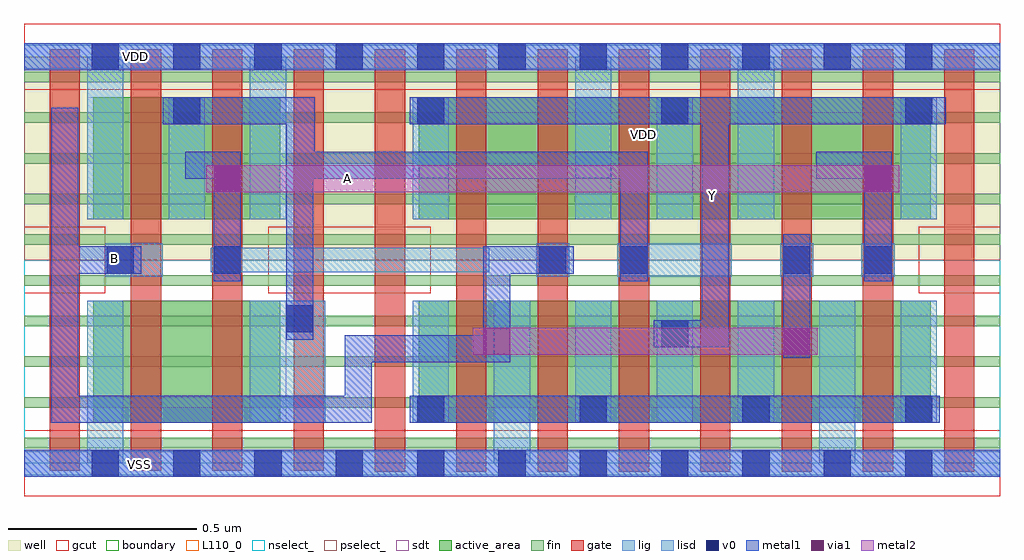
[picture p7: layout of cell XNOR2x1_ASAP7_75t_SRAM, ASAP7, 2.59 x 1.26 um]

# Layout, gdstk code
import gdstk
lib = gdstk.Library(unit=1e-6, precision=2.5e-10)
def R(c, l, rs):  # rectangles x0, y0, x1, y1
    for r in rs: c.add(gdstk.rectangle(r[:2], r[2:], *l))
def A(c, l, x, y, w, h, nx, ny, dx, dy):  # array of equal rectangles
    R(c, l, [(x+i*dx, y+j*dy, x+i*dx+w, y+j*dy+h) for i in range(nx) for j in range(ny)])
def P(c, l, *ps):  # polygons
    for p in ps: c.add(gdstk.Polygon(p, *l))
well = (1, 0)
fin = (2, 0)
gate = (7, 0)
gcut = (10, 0)
active_area = (11, 0)
nselect_ = (12, 0)
pselect_ = (13, 0)
lig = (16, 0)
lisd = (17, 0)
v0 = (18, 0)
metal1 = (19, 0)
metal2 = (20, 0)
via1 = (21, 0)
sdt = (88, 0)
boundary = (100, 0)
L110_0 = (110, 0)

xnor2x1_asap7_75t_sram = lib.new_cell('XNOR2x1_ASAP7_75t_SRAM')
R(xnor2x1_asap7_75t_sram, well, [(0,0.54,2.592,1.08)])
A(xnor2x1_asap7_75t_sram, fin, 0, 0.04, 2.592, 0.028, 1, 10, 0, 0.108)
A(xnor2x1_asap7_75t_sram, gate, 0.932, -0.022, 0.08, 1.122, 8, 1, 0.216, 0)
A(xnor2x1_asap7_75t_sram, gate, 0.068, -0.02, 0.08, 1.12, 4, 1, 0.216, 0)
R(xnor2x1_asap7_75t_sram, gcut, [(0,-0.088,2.592,0.088), (0,0.452,0.216,0.628), (0.648,0.452,1.08,0.628), (2.376,0.452,2.592,0.628), (0,0.992,2.592,1.168)])
R(xnor2x1_asap7_75t_sram, active_area, [(0.184,0.108,0.68,0.432), (1.048,0.108,2.408,0.432), (0.184,0.648,0.68,0.972), (1.048,0.648,2.408,0.972)])
R(xnor2x1_asap7_75t_sram, nselect_, [(0,0,2.592,0.54)])
R(xnor2x1_asap7_75t_sram, pselect_, [(0,0.54,2.592,1.08)])
R(xnor2x1_asap7_75t_sram, lig, [(0,-0.032,2.592,0.032), (0.216,0.496,0.368,0.584), (1.36,0.496,1.448,0.584), (1.576,0.496,1.88,0.584), (2.008,0.496,2.096,0.584), (2.224,0.496,2.312,0.584), (0.496,0.508,1.236,0.572), (0,1.048,2.592,1.112)])
A(xnor2x1_asap7_75t_sram, lisd, 1.464, 0.108, 0.096, 0.324, 3, 1, 0.216, 0)
A(xnor2x1_asap7_75t_sram, lisd, 0.384, 0.648, 0.096, 0.324, 4, 1, 0.648, 0)
R(xnor2x1_asap7_75t_sram, lisd, [(0.168,0,0.264,0.432), (1.248,0,1.344,0.432), (2.112,0,2.208,0.432), (0.6,0.108,0.8,0.432), (1.032,0.108,1.128,0.432), (2.328,0.108,2.424,0.432), (0.168,0.648,0.264,1.08), (0.6,0.648,0.696,1.08), (1.464,0.648,1.56,1.08), (1.896,0.648,1.992,1.08)])
A(xnor2x1_asap7_75t_sram, v0, 0.18, -0.036, 0.072, 0.072, 11, 2, 0.216, 1.08)
A(xnor2x1_asap7_75t_sram, v0, 1.044, 0.108, 0.072, 0.072, 4, 1, 0.432, 0)
A(xnor2x1_asap7_75t_sram, v0, 0.396, 0.9, 0.072, 0.072, 4, 1, 0.648, 0)
R(xnor2x1_asap7_75t_sram, v0, [(1.692,0.308,1.764,0.38), (0.696,0.348,0.768,0.42), (0.22,0.504,0.292,0.576), (0.504,0.504,0.576,0.576), (1.368,0.504,1.44,0.576), (1.584,0.504,1.656,0.576), (2.016,0.504,2.088,0.576), (2.232,0.504,2.304,0.576)])
R(xnor2x1_asap7_75t_sram, metal1, [(0,-0.036,2.592,0.036), (1.024,0.108,2.432,0.18), (2.016,0.28,2.088,0.608), (0,1.044,2.592,1.116)])
P(xnor2x1_asap7_75t_sram, metal1, [(0.576,0.484),(0.504,0.484),(0.504,0.756),(0.428,0.756),(0.428,0.828),(0.576,0.828)],
  [(1.46,0.504),(1.292,0.504),(1.292,0.268),(0.924,0.268),(0.924,0.108),(0.072,0.108),(0.072,0.944),(0.144,0.944),(0.144,0.576),(0.312,0.576),(0.312,0.504),(0.144,0.504),(0.144,0.18),(0.852,0.18),(0.852,0.34),(1.22,0.34),(1.22,0.576),(1.46,0.576)],
  [(2.304,0.484),(2.232,0.484),(2.232,0.756),(2.104,0.756),(2.104,0.828),(2.304,0.828)],
  [(1.656,0.828),(0.772,0.828),(0.772,0.972),(0.368,0.972),(0.368,0.9),(0.696,0.9),(0.696,0.328),(0.768,0.328),(0.768,0.756),(1.584,0.756),(1.584,0.484),(1.656,0.484)],
  [(2.448,0.9),(1.872,0.9),(1.872,0.308),(1.672,0.308),(1.672,0.38),(1.8,0.38),(1.8,0.9),(1.024,0.9),(1.024,0.972),(2.448,0.972)])
R(xnor2x1_asap7_75t_sram, metal2, [(1.192,0.288,2.108,0.36), (0.484,0.72,2.324,0.792)])
R(xnor2x1_asap7_75t_sram, via1, [(1.22,0.288,1.292,0.36), (2.016,0.288,2.088,0.36), (0.504,0.72,0.576,0.792), (2.232,0.72,2.304,0.792)])
A(xnor2x1_asap7_75t_sram, sdt, 0.168, 0.108, 0.096, 0.324, 3, 1, 0.432, 0)
A(xnor2x1_asap7_75t_sram, sdt, 1.248, 0.108, 0.096, 0.324, 6, 1, 0.216, 0)
A(xnor2x1_asap7_75t_sram, sdt, 0.168, 0.648, 0.096, 0.324, 3, 1, 0.216, 0)
A(xnor2x1_asap7_75t_sram, sdt, 1.464, 0.648, 0.096, 0.324, 3, 1, 0.216, 0)
R(xnor2x1_asap7_75t_sram, sdt, [(1.032,0.648,1.128,0.972), (2.328,0.648,2.424,0.972)])
R(xnor2x1_asap7_75t_sram, boundary, [(0,0,2.592,1.08)])
R(xnor2x1_asap7_75t_sram, L110_0, [(0,0,2.592,1.08)])
xnor2x1_asap7_75t_sram.add(gdstk.Label('VSS', (1.368,-0.18), layer=3, texttype=251))
xnor2x1_asap7_75t_sram.add(gdstk.Label('VDD', (1.644,0.872), layer=1, texttype=251))
xnor2x1_asap7_75t_sram.add(gdstk.Label('Y', (1.828,0.712), layer=19, texttype=251))
xnor2x1_asap7_75t_sram.add(gdstk.Label('VDD', (0.296,1.08), layer=19, texttype=251))
xnor2x1_asap7_75t_sram.add(gdstk.Label('VSS', (0.308,-0.004), layer=19, texttype=251))
xnor2x1_asap7_75t_sram.add(gdstk.Label('B', (0.24,0.544), layer=19, texttype=251))
xnor2x1_asap7_75t_sram.add(gdstk.Label('A', (0.86,0.756), layer=20, texttype=251))

lib.write_gds('XNOR2x1_ASAP7_75t_SRAM.gds')
